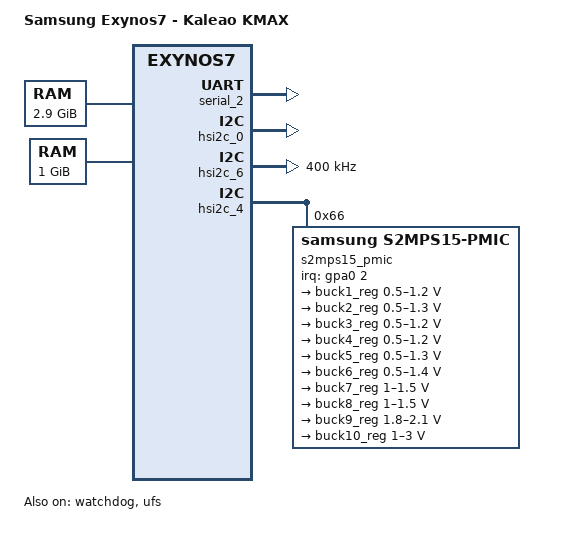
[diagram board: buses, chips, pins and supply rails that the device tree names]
/*
 * Howchip board device tree source
 *
 * Copyright (c) 2016 ICS-FORTH, Crete, Greece
 *		http://ics.forth.gr
 *
 * This program is free software; you can redistribute it and/or modify
 * it under the terms of the GNU General Public License version 2 as
 * published by the Free Software Foundation.
*/

#include "exynos7.dtsi"
#include "irq.h"
#include "samsung,s2mps11.h"

/ {

	#address-cells = <2>;
	#size-cells = <2>;
	model = "Samsung Exynos7 - Kaleao KMAX";
	compatible = "samsung,exynos7-howchip", "samsung,exynos7";

	aliases {
		serial0 = &serial_2;
/*		serial0 = &serial_0; */
		mshc0 = &mmc_0;
		mshc2 = &mmc_2;
	};

	memory@40000000 {
		device_type = "memory";
		reg = <0x0 0x40000000 0x0 0xb9800000>;
	};

	memory@100000000 {
		device_type = "memory";
		reg = <0x1 0x00000000 0x0 0x40000000>;
	};
};


/*&serial_0 {
	status = "okay";
};
*/


&serial_2 {
	status = "okay";
};


&rtc {
	status = "disabled";
	clocks = <&clock_ccore PCLK_RTC>, <&s2mps15_osc S2MPS11_CLK_AP>;
	clock-names = "rtc", "rtc_src";
};

&watchdog {
	status = "okay";
};

&adc {
	status = "disabled";
};

&cpu0 {
	cpu-supply = <&buck3_reg>;
};

&cpu4 {
	cpu-supply = <&buck2_reg>;
};

&hsi2c_0 {
	status = "okay";
};

&hsi2c_6 {
	status = "okay";
	clock-frequency = <400000>;
};

&hsi2c_4 {
	samsung,i2c-sda-delay = <100>;
	samsung,i2c-max-bus-freq = <200000>;
	status = "okay";

	s2mps15_pmic@66 {
		compatible = "samsung,s2mps15-pmic";
		reg = <0x66>;
		interrupts = <2 IRQ_TYPE_NONE>;
		interrupt-parent = <&gpa0>;
		pinctrl-names = "default";
		pinctrl-0 = <&pmic_irq>;
		wakeup-source;

		s2mps15_osc: clocks {
			compatible = "samsung,s2mps13-clk";
			#clock-cells = <1>;
			clock-output-names = "s2mps13_ap", "s2mps13_cp",
				"s2mps13_bt";
		};

		regulators {


			buck1_reg: BUCK1 {
				regulator-name = "vdd_mif";
				regulator-min-microvolt = <500000>;
				regulator-max-microvolt = <1200000>;
				regulator-always-on;
				regulator-boot-on;
				regulator-ramp-delay = <25000>;
				regulator-enable-ramp-delay = <250>;
			};

			buck2_reg: BUCK2 {
				regulator-name = "vdd_atlas";
				regulator-min-microvolt = <500000>;
				regulator-max-microvolt = <1300000>;
				regulator-always-on;
				regulator-ramp-delay = <12000>;
                                regulator-initial-mode = <1>;
			};

			buck3_reg: BUCK3 {
				regulator-name = "vdd_apollo";
				regulator-min-microvolt = <500000>;
				regulator-max-microvolt = <1200000>;
				regulator-always-on;
				regulator-ramp-delay = <12000>;
                                regulator-initial-mode = <1>;
			};

			buck4_reg: BUCK4 {
				regulator-name = "vdd_int";
				regulator-min-microvolt = <500000>;
				regulator-max-microvolt = <1200000>;
				regulator-always-on;
				regulator-boot-on;
				regulator-ramp-delay = <12500>;
				regulator-enable-ramp-delay = <250>;
			};

			buck5_reg: BUCK5 {
				regulator-name = "vdd_buck5";
				regulator-min-microvolt = <500000>;
				regulator-max-microvolt = <1300000>;
				regulator-always-on;
				regulator-ramp-delay = <25000>;
				regulator-enable-ramp-delay = <250>;
			};

			buck6_reg: BUCK6 {
				regulator-name = "vdd_g3d";
				regulator-min-microvolt = <500000>;
				regulator-max-microvolt = <1400000>;
				regulator-ramp-delay = <12500>;
				regulator-enable-ramp-delay = <250>;
			};

			buck7_reg: BUCK7 {
				regulator-name = "vdd_buck7";
				regulator-min-microvolt = <1000000>;
				regulator-max-microvolt = <1500000>;
				regulator-always-on;
				regulator-ramp-delay = <25000>;
				regulator-enable-ramp-delay = <250>;
			};

			buck8_reg: BUCK8 {
				regulator-name = "vdd_buck8";
				regulator-min-microvolt = <1000000>;
				regulator-max-microvolt = <1500000>;
				regulator-always-on;
				regulator-ramp-delay = <25000>;
				regulator-enable-ramp-delay = <250>;
			};

			buck9_reg: BUCK9 {
				regulator-name = "vdd_buck9";
				regulator-min-microvolt = <1800000>;
				regulator-max-microvolt = <2100000>;
				regulator-always-on;
				regulator-ramp-delay = <25000>;
				regulator-enable-ramp-delay = <250>;
			};

			buck10_reg: BUCK10 {
				regulator-name = "vdd_buck10";
				regulator-min-microvolt = <1000000>;
				regulator-max-microvolt = <3000000>;
				regulator-always-on;
				regulator-ramp-delay = <25000>;
				regulator-enable-ramp-delay = <250>;
			};
		};
	};
};

&pinctrl_alive {
	pmic_irq: pmic-irq {
		samsung,pins = "gpa0-2";
		samsung,pin-pud = <3>;
		samsung,pin-drv = <3>;
	};
};


&pinctrl_bus1{
       cfg_wlanen: cfg-wlanen {
                samsung,pins = "gpf0-4";
                samsung,pin-function = <1>;
                samsung,pin-drv = <3>;
                samsung,pin-con-pdn = <3>;
       };
};

&ufs {
	status = "okay";
	ufs,pmd-attr-mode = "FAST";
	ufs,pmd-attr-lane = /bits/ 8 <2>;
	ufs,pmd-attr-gear = /bits/ 8 <2>;
	ufs,pmd-attr-hs-series = "HS_rate_b";
	ufs-opts-skip-connection-estab;
	ufs-rx-adv-fine-gran-sup_en = <0>;
        ufs-rx-min-activate-time-cap = <7>;
        ufs-rx-hibern8-time-cap = <5>;
        ufs-pa-granularity = <6>;
        ufs-pa-tacctivate = <6>;
        ufs-pa-hibern8time = <20>;
        //vcc-supply = <&ufs_fixed_vcc>;
        //vccq-supply = <&ufs_fixed_vccq>;
        //vccq2-supply = <&ufs_fixed_vccq2>;
        ///vcc-fixed-regulator;
        //vccq-fixed-regulator;
        //vccq2-fixed-regulator;

        ufs-cap-clk-gating;
        ufs-cap-hibern8-with-clk-gating;
};

&mmc_0 {
	status = "disabled";
	num-slots = <1>;
	cap-mmc-highspeed;
	mmc-hs200-1_8v;
	non-removable;
	card-detect-delay = <200>;
	clock-frequency = <400000000>;
	samsung,dw-mshc-ciu-div = <3>;
	samsung,dw-mshc-sdr-timing = <0 4>;
	samsung,dw-mshc-ddr-timing = <0 2>;
	pinctrl-names = "default";
	pinctrl-0 = <&sd0_clk &sd0_cmd &sd0_qrdy &sd0_bus1 &sd0_bus4 &sd0_bus8>;
	bus-width = <8>;
};

&mmc_2 {
	/*status = "okay";*/
	status = "disabled";
	num-slots = <1>;
	cap-sd-highspeed;
	card-detect-delay = <200>;
	clock-frequency = <400000000>;
	samsung,dw-mshc-ciu-div = <3>;
	samsung,dw-mshc-sdr-timing = <2 3>;
	samsung,dw-mshc-ddr-timing = <1 2>;
	pinctrl-names = "default";
	pinctrl-0 = <&sd2_clk &sd2_cmd &sd2_cd &sd2_bus1 &sd2_bus4>;
	bus-width = <4>;
	disable-wp;
};

